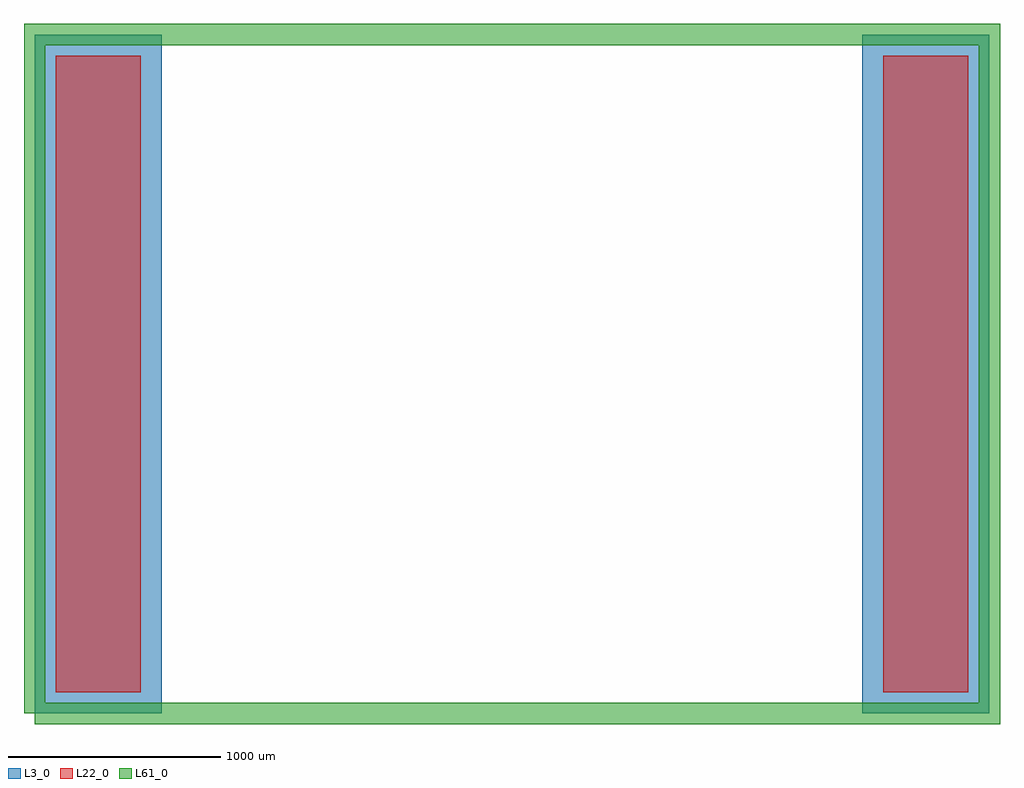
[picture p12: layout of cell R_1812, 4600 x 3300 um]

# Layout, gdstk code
import gdstk
lib = gdstk.Library(unit=1e-6, precision=1e-09)
def R(c, l, rs):  # rectangles x0, y0, x1, y1
    for r in rs: c.add(gdstk.rectangle(r[:2], r[2:], *l))
L3_0 = (3, 0)
L22_0 = (22, 0)
L61_0 = (61, 0)

r_1812 = lib.new_cell('R_1812')
R(r_1812, L3_0, [(-2250,-1600,-1650,1600), (1650,-1600,2250,1600)])
R(r_1812, L22_0, [(-2150,-1500,-1750,1500), (1750,-1500,2150,1500)])
r_1812.add(gdstk.FlexPath([(-2250,-1600),(2250,-1600),(2250,1600),(-2250,1600),(-2250,-1600)], 100, ends="flush", simple_path=True, layer=61, datatype=0))  # L61_0

lib.write_gds('R_1812.gds')
